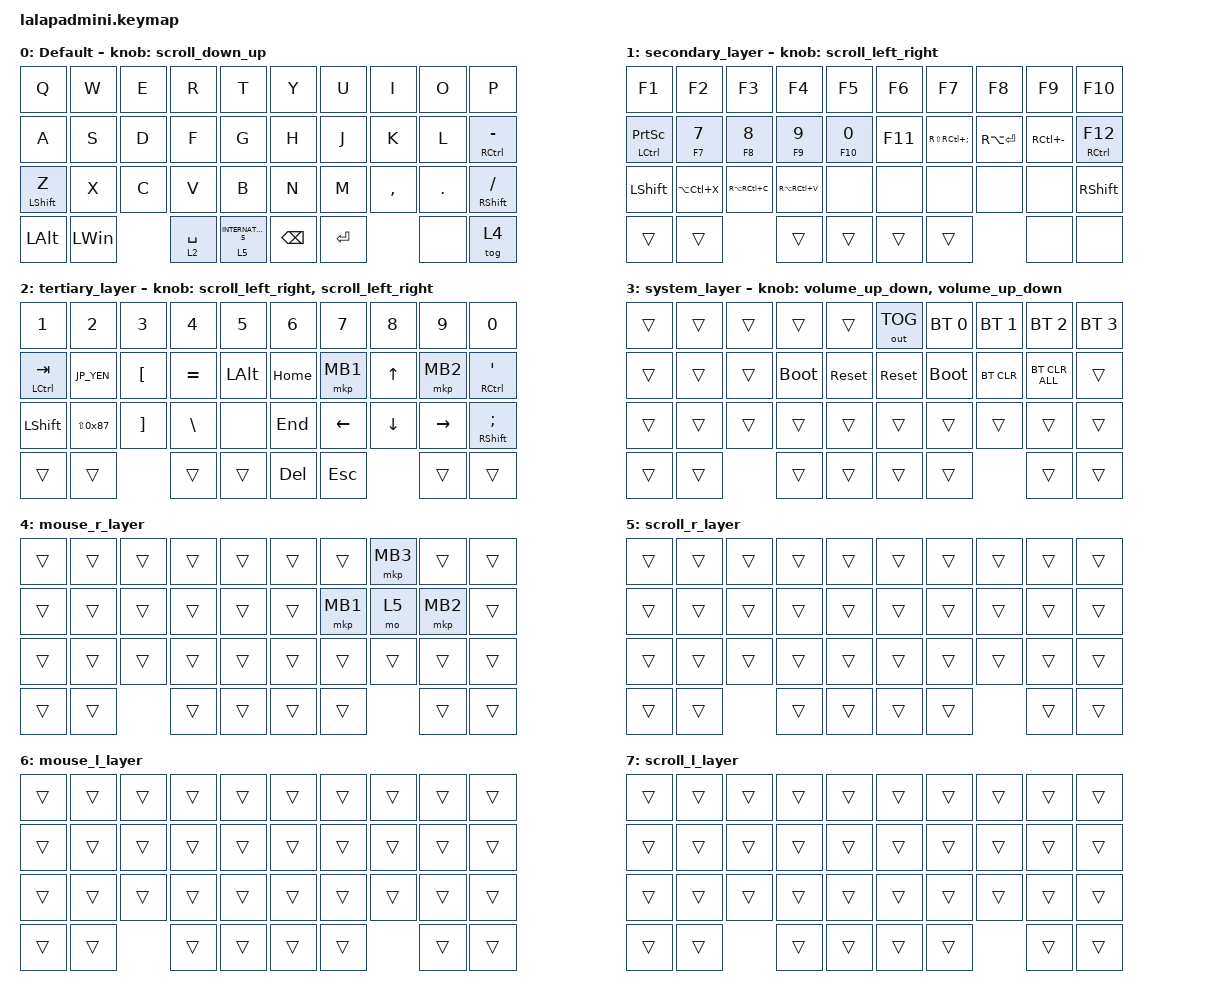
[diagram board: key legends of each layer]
#include <input/processors.dtsi>
#include <behaviors.dtsi>
#include <dt-bindings/zmk/bt.h>
#include <dt-bindings/zmk/keys.h>
#include <dt-bindings/zmk/outputs.h>
#include <dt-bindings/zmk/pointing.h>

#define DEFAULT_LAYER   0
#define SECONDARY_LAYER 1
#define TERTIARY_LAYER  2
#define SYSTEM_LAYER    3
#define MOUSE_R_LAYER   4
#define SCROLL_R_LAYER  5
#define MOUSE_L_LAYER   6
#define SCROLL_L_LAYER  7

// OS設定を日本語キーボードのまま使用するための変換定義

#define JP_DQUOTE       AT                // "
#define JP_AMPERSAND    CARET             // &
#define JP_QUOTE        AMPERSAND         // '
#define JP_EQUAL        UNDER             // =
#define JP_CARET        EQUAL             // ^
#define JP_YEN          0x89              // ¥
#define JP_PLUS         COLON             // +
#define JP_TILDE        PLUS              // ~
#define JP_PIPE         LS(0x89)          // |
#define JP_AT           LEFT_BRACKET      // @
#define JP_COLON        SINGLE_QUOTE      // :
#define JP_ASTERISK     DOUBLE_QUOTES     // *
#define JP_BACKQUOTE    LEFT_BRACE        // `
#define JP_UNDERSCORE   LS(0x87)          // _
#define JP_LBRACKET     RIGHT_BRACKET     // [
#define JP_RBRACKET     BACKSLASH         // ]
#define JP_LPAREN       ASTERISK          // (
#define JP_RPAREN       LEFT_PARENTHESIS  // )
#define JP_LBRACE       RIGHT_BRACE       // {
#define JP_RBRACE       PIPE              // }
#define JP_KANA         LANGUAGE_1        // かな
#define JP_EISU         LANGUAGE_2        // 英数
#define JP_HANZEN       GRAVE             // 半角/全角

// Mouse Scroll Value

#define ZMK_POINTING_DEFAULT_SCRL_VAL 100

// cirque trackpad input&layer control

&glidepoint_listener_R {
    input-processors =
        <&zip_xy_transform (INPUT_TRANSFORM_XY_SWAP | INPUT_TRANSFORM_X_INVERT | INPUT_TRANSFORM_Y_INVERT)>,
        <&zip_xy_scaler 3 2>,
        <&zip_temp_layer MOUSE_R_LAYER 300>;

    lowspeedmode {
        layers = <SECONDARY_LAYER>;
        input-processors =
            <&zip_xy_transform (INPUT_TRANSFORM_XY_SWAP | INPUT_TRANSFORM_X_INVERT | INPUT_TRANSFORM_Y_INVERT)>,
            <&zip_xy_scaler 3 5>,
            <&zip_temp_layer MOUSE_R_LAYER 300>;
    };

    scroller {
        layers = <SCROLL_R_LAYER>;
        input-processors =
            <&zip_xy_to_scroll_mapper>,
            <&zip_scroll_transform (INPUT_TRANSFORM_XY_SWAP | INPUT_TRANSFORM_Y_INVERT)>,
            <&zip_scroll_scaler 1 32>;
    };
};

&glidepoint_listener_L {
    input-processors =
        <&zip_xy_transform (INPUT_TRANSFORM_XY_SWAP | INPUT_TRANSFORM_X_INVERT | INPUT_TRANSFORM_Y_INVERT)>,
        <&zip_xy_scaler 3 2>,
        <&zip_temp_layer MOUSE_L_LAYER 300>;

    lowspeedmode {
        layers = <TERTIARY_LAYER>;
        input-processors =
            <&zip_xy_transform (INPUT_TRANSFORM_XY_SWAP | INPUT_TRANSFORM_X_INVERT | INPUT_TRANSFORM_Y_INVERT)>,
            <&zip_xy_scaler 3 4>,
            <&zip_temp_layer MOUSE_L_LAYER 300>;
    };

    scroller {
        layers = <SCROLL_L_LAYER>;
        input-processors =
            <&zip_xy_to_scroll_mapper>,
            <&zip_scroll_transform (INPUT_TRANSFORM_XY_SWAP | INPUT_TRANSFORM_Y_INVERT)>,
            <&zip_scroll_scaler 1 32>;
    };
};

&mt { quick-tap-ms = <200>; };

&lt { quick-tap-ms = <200>; };

/ {
    behaviors {
        // Encoder to Mouse Scroll

        scroll_up_down: behavior_sensor_rotate_mouse_wheel_up_down {
            compatible = "zmk,behavior-sensor-rotate";
            #sensor-binding-cells = <0>;
            bindings = <&msc SCRL_UP>, <&msc SCRL_DOWN>;

            tap-ms = <20>;
        };

        scroll_down_up: behavior_sensor_rotate_mouse_wheel_down_up {
            compatible = "zmk,behavior-sensor-rotate";
            #sensor-binding-cells = <0>;
            bindings = <&msc SCRL_DOWN>, <&msc SCRL_UP>;

            tap-ms = <20>;
        };

        scroll_left_right: behavior_sensor_rotate_mouse_wheel_left_right {
            compatible = "zmk,behavior-sensor-rotate";
            #sensor-binding-cells = <0>;
            bindings = <&msc SCRL_LEFT>, <&msc SCRL_RIGHT>;

            tap-ms = <20>;
        };

        scroll_right_left: behavior_sensor_rotate_mouse_wheel_right_left {
            compatible = "zmk,behavior-sensor-rotate";
            #sensor-binding-cells = <0>;
            bindings = <&msc SCRL_RIGHT>, <&msc SCRL_LEFT>;

            tap-ms = <20>;
        };

        volume_up_down: behavior_sensor_rotate_volume_up_down {
            compatible = "zmk,behavior-sensor-rotate";
            #sensor-binding-cells = <0>;
            bindings = <&kp C_VOLUME_UP>, <&kp C_VOLUME_DOWN>;

            tap-ms = <20>;
        };

        mt2: mod_tap2 {
            compatible = "zmk,behavior-hold-tap";
            #binding-cells = <2>;
            flavor = "tap-preferred";
            tapping-term-ms = <200>;
            quick-tap-ms = <200>;
            require-prior-idle-ms = <125>;
            bindings = <&kp>, <&kp>;
        };

        tap_dance_layer_1and2: tap_dance_layer_1and2 {
            compatible = "zmk,behavior-tap-dance";
            label = "td_mo12";
            #binding-cells = <0>;
            bindings = <&mo 1>, <&mo 2>;
        };
    };

    combos {
        compatible = "zmk,combos";

        CONBO_ESC {
            bindings = <&kp ESCAPE>;
            key-positions = <0 1>;
        };

        COMBO_TAB {
            bindings = <&kp TAB>;
            key-positions = <10 11>;
        };

        COMBO_WIN {
            bindings = <&kp LWIN>;
            key-positions = <30 31>;
        };

        KANA {
            bindings = <&lt 1 JP_HANZEN>;
            key-positions = <32 33>;
        };
    };

    macros {
        MACRO_LTAP: MACRO_LTAP {
            compatible = "zmk,behavior-macro";
            #binding-cells = <0>;
            bindings = <&mkp LCLK>;
            label = "MACRO_LTAP";
        };
    };

    keymap {
        compatible = "zmk,keymap";

        DEFAULT_LAYER {
            display-name = "Default";
            sensor-bindings = <&scroll_down_up>;
            bindings = <
&kp Q             &kp W         &kp E  &kp R        &kp T                  &kp Y          &kp U      &kp I      &kp O       &kp P
&kp A             &kp S         &kp D  &kp F        &kp G                  &kp H          &kp J      &kp K      &kp L       &mt RCTRL MINUS
&mt LEFT_SHIFT Z  &kp X         &kp C  &kp V        &kp B                  &kp N          &kp M      &kp COMMA  &kp PERIOD  &mt RSHIFT SLASH
&kp LEFT_ALT      &kp LEFT_WIN         &lt 2 SPACE  &lt 5 INTERNATIONAL_5  &kp BACKSPACE  &kp ENTER             &none       &tog 4
            >;
        };

        SECONDARY_LAYER {
            display-name = "secondary_layer";
            sensor-bindings = <&scroll_left_right>;
            bindings = <
&kp F1                 &kp F2         &kp F3         &kp F4         &kp F5       &kp F6   &kp F7                 &kp F8         &kp F9         &kp F10
&mt LCTRL PRINTSCREEN  &mt2 F7 N7     &mt2 F8 N8     &mt2 F9 N9     &mt2 F10 N0  &kp F11  &kp RS(RC(SEMICOLON))  &kp RA(ENTER)  &kp RC(MINUS)  &mt RCTRL F12
&kp LEFT_SHIFT         &kp LA(LC(X))  &kp RA(RC(C))  &kp RA(RC(V))  &none        &none    &none                  &none          &none          &kp RIGHT_SHIFT
&trans                 &trans                        &trans         &trans       &trans   &trans                                &none          &none
            >;
        };

        TERTIARY_LAYER {
            display-name = "tertiary_layer";
            bindings = <
&kp NUMBER_1    &kp NUMBER_2       &kp NUMBER_3     &kp NUMBER_4     &kp N5    &kp NUMBER_6  &kp N7          &kp N8          &kp NUMBER_9     &kp NUMBER_0
&mt LCTRL TAB   &kp JP_YEN         &kp JP_AT        &kp JP_CARET     &kp LALT  &kp HOME      &mkp MB1        &kp UP_ARROW    &mkp MB2         &mt RCTRL JP_COLON
&kp LEFT_SHIFT  &kp JP_UNDERSCORE  &kp JP_LBRACKET  &kp JP_RBRACKET  &none     &kp END       &kp LEFT_ARROW  &kp DOWN_ARROW  &kp RIGHT_ARROW  &mt RSHIFT SEMICOLON
&trans          &trans                              &trans           &trans    &kp DELETE    &kp ESC                         &trans           &trans
            >;

            sensor-bindings = <&scroll_left_right>, <&scroll_left_right>;
        };

        SYSTEM_LAYER {
            display-name = "system_layer";
            sensor-bindings = <&volume_up_down>, <&volume_up_down>;

            bindings = <
&trans  &trans  &trans  &trans       &trans      &out OUT_TOG  &bt BT_SEL 0  &bt BT_SEL 1  &bt BT_SEL 2    &bt BT_SEL 3
&trans  &trans  &trans  &bootloader  &sys_reset  &sys_reset    &bootloader   &bt BT_CLR    &bt BT_CLR_ALL  &trans
&trans  &trans  &trans  &trans       &trans      &trans        &trans        &trans        &trans          &trans
&trans  &trans          &trans       &trans      &trans        &trans                      &trans          &trans
            >;
        };

        MOUSE_R_LAYER {
            display-name = "mouse_r_layer";
            bindings = <
&trans  &trans  &trans  &trans  &trans  &trans  &trans    &mkp MB3  &trans    &trans
&trans  &trans  &trans  &trans  &trans  &trans  &mkp MB1  &mo 5     &mkp MB2  &trans
&trans  &trans  &trans  &trans  &trans  &trans  &trans    &trans    &trans    &trans
&trans  &trans          &trans  &trans  &trans  &trans              &trans    &trans
            >;
        };

        SCROLL_R_LAYER {
            display-name = "scroll_r_layer";
            bindings = <
&trans  &trans  &trans  &trans  &trans  &trans  &trans  &trans  &trans  &trans
&trans  &trans  &trans  &trans  &trans  &trans  &trans  &trans  &trans  &trans
&trans  &trans  &trans  &trans  &trans  &trans  &trans  &trans  &trans  &trans
&trans  &trans          &trans  &trans  &trans  &trans          &trans  &trans
            >;
        };

        MOUSE_L_LAYER {
            display-name = "mouse_l_layer";
            bindings = <
&trans  &trans  &trans  &trans  &trans  &trans  &trans  &trans  &trans  &trans
&trans  &trans  &trans  &trans  &trans  &trans  &trans  &trans  &trans  &trans
&trans  &trans  &trans  &trans  &trans  &trans  &trans  &trans  &trans  &trans
&trans  &trans          &trans  &trans  &trans  &trans          &trans  &trans
            >;
        };

        SCROLL_L_LAYER {
            display-name = "scroll_l_layer";
            bindings = <
&trans  &trans  &trans  &trans  &trans  &trans  &trans  &trans  &trans  &trans
&trans  &trans  &trans  &trans  &trans  &trans  &trans  &trans  &trans  &trans
&trans  &trans  &trans  &trans  &trans  &trans  &trans  &trans  &trans  &trans
&trans  &trans          &trans  &trans  &trans  &trans          &trans  &trans
            >;
        };
    };

    conditional_layers {
        compatible = "zmk,conditional-layers";

        System_layer {
            if-layers = <1 2>;
            then-layer = <3>;
        };
    };
};
